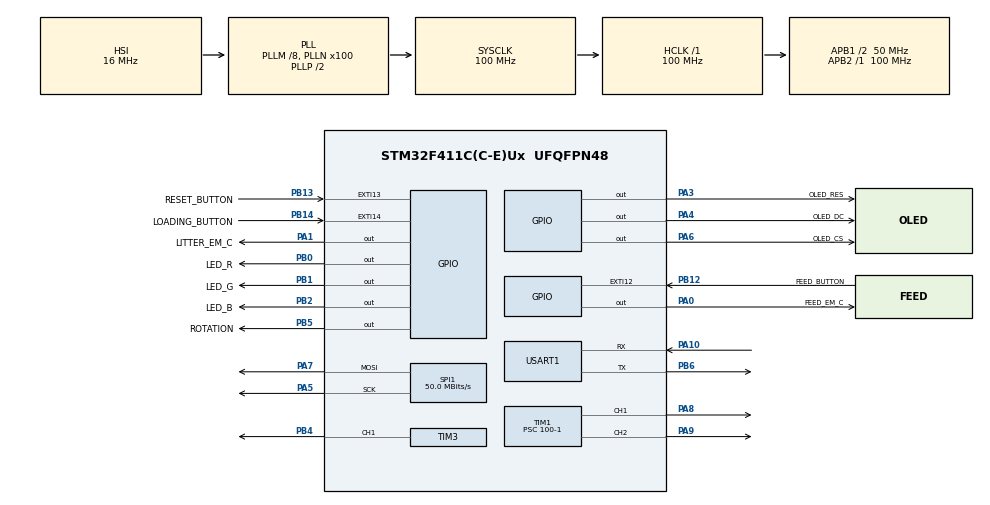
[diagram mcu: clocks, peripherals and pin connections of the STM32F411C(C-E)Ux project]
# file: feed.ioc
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Mcu.Family=STM32F4
Mcu.Name=STM32F411C(C-E)Ux
Mcu.Package=UFQFPN48
NVIC.EXTI15_10_IRQn=true\:1\:0\:true\:false\:true\:true\:true\:true
NVIC.PriorityGroup=NVIC_PRIORITYGROUP_4
NVIC.TIM2_IRQn=true\:0\:0\:false\:false\:true\:true\:true\:true
NVIC.TIM3_IRQn=true\:0\:0\:false\:false\:true\:true\:true\:true
NVIC.USART1_IRQn=true\:2\:0\:true\:false\:true\:true\:true\:true
PA0-WKUP.GPIO_Label=FEED_EM_C
PA0-WKUP.Signal=GPIO_Output
PA1.GPIO_Label=LITTER_EM_C
PA1.PinState=GPIO_PIN_RESET
PA1.Signal=GPIO_Output
PA10.Mode=Asynchronous
PA10.Signal=USART1_RX
PA13.Mode=Serial_Wire
PA13.Signal=SYS_JTMS-SWDIO
PA14.Mode=Serial_Wire
PA14.Signal=SYS_JTCK-SWCLK
PA3.GPIO_Label=OLED_RES
PA3.GPIO_Speed=GPIO_SPEED_FREQ_HIGH
PA3.PinState=GPIO_PIN_SET
PA3.Signal=GPIO_Output
PA4.GPIO_Label=OLED_DC
PA4.GPIO_Speed=GPIO_SPEED_FREQ_HIGH
PA4.Signal=GPIO_Output
PA5.Mode=TX_Only_Simplex_Unidirect_Master
PA5.Signal=SPI1_SCK
PA6.GPIO_Label=OLED_CS
PA6.GPIO_Speed=GPIO_SPEED_FREQ_HIGH
PA6.PinState=GPIO_PIN_SET
PA6.Signal=GPIO_Output
PA7.Mode=TX_Only_Simplex_Unidirect_Master
PA7.Signal=SPI1_MOSI
PA8.Signal=S_TIM1_CH1
PA9.Signal=S_TIM1_CH2
PB0.GPIO_Label=LED_R
PB0.Signal=GPIO_Output
PB1.GPIO_Label=LED_G
PB1.Signal=GPIO_Output
PB12.GPIO_Label=FEED_BUTTON
PB12.GPIO_ModeDefaultEXTI=GPIO_MODE_IT_RISING
PB12.Signal=GPXTI12
PB13.GPIO_Label=RESET_BUTTON
PB13.GPIO_ModeDefaultEXTI=GPIO_MODE_IT_RISING
PB13.Signal=GPXTI13
PB14.GPIO_Label=LOADING_BUTTON
PB14.Signal=GPXTI14
PB2.GPIO_Label=LED_B
PB2.Signal=GPIO_Output
PB4.Signal=S_TIM3_CH1
PB5.GPIO_Label=ROTATION
PB5.Signal=GPIO_Output
PB6.Mode=Asynchronous
PB6.Signal=USART1_TX
ProjectManager.HeapSize=0x200
ProjectManager.StackSize=0x400
ProjectManager.TargetToolchain=Makefile
RCC.48MHZClocksFreq_Value=50000000
RCC.AHBFreq_Value=100000000
RCC.APB1CLKDivider=RCC_HCLK_DIV2
RCC.APB1Freq_Value=50000000
RCC.APB1TimFreq_Value=100000000
RCC.APB2Freq_Value=100000000
RCC.APB2TimFreq_Value=100000000
RCC.CortexFreq_Value=100000000
RCC.HCLKFreq_Value=100000000
RCC.HSE_VALUE=25000000
RCC.HSI_VALUE=16000000
RCC.LSE_VALUE=32768
RCC.PLLM=8
RCC.PLLN=100
RCC.SYSCLKFreq_VALUE=100000000
RCC.SYSCLKSource=RCC_SYSCLKSOURCE_PLLCLK
RCC.VCOOutputFreq_Value=200000000
SH.S_TIM1_CH1.0=TIM1_CH1,PWM Generation1 CH1
SH.S_TIM1_CH2.0=TIM1_CH2,PWM Generation2 CH2
SH.S_TIM3_CH1.0=TIM3_CH1,PWM Generation1 CH1
SPI1.CalculateBaudRate=50.0 MBits/s
SPI1.Direction=SPI_DIRECTION_2LINES
SPI1.Mode=SPI_MODE_MASTER
SPI1.VirtualType=VM_MASTER
TIM1.AutoReloadPreload=TIM_AUTORELOAD_PRELOAD_ENABLE
TIM1.Channel-PWM\ Generation1\ CH1=TIM_CHANNEL_1
TIM1.Channel-PWM\ Generation2\ CH2=TIM_CHANNEL_2
TIM1.Period=1000-1
TIM1.Prescaler=100-1
TIM1.Pulse-PWM\ Generation1\ CH1=500
TIM1.Pulse-PWM\ Generation2\ CH2=500
TIM2.AutoReloadPreload=TIM_AUTORELOAD_PRELOAD_ENABLE
TIM2.Period=1000-1
TIM2.Prescaler=1000-1
TIM3.AutoReloadPreload=TIM_AUTORELOAD_PRELOAD_ENABLE
TIM3.Channel-PWM\ Generation1\ CH1=TIM_CHANNEL_1
TIM3.Period=1000-1
TIM3.Prescaler=100-1
TIM3.Pulse-PWM\ Generation1\ CH1=500
USART1.VirtualMode=VM_ASYNC
VP_TIM1_VS_ClockSourceINT.Mode=Internal
VP_TIM2_VS_ClockSourceINT.Mode=Internal
VP_TIM3_VS_ClockSourceINT.Mode=Internal
board=custom

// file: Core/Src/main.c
/* USER CODE BEGIN Header */
/**
 ******************************************************************************
 * @file           : main.c
 * @brief          : Main program body
 ******************************************************************************
 * @attention
 *
 * Copyright (c) 2023 STMicroelectronics.
 * All rights reserved.
 *
 * This software is licensed under terms that can be found in the LICENSE file
 * in the root directory of this software component.
 * If no LICENSE file comes with this software, it is provided AS-IS.
 *
 ******************************************************************************
 */
/* USER CODE END Header */
#include "main.h"
#include "spi.h"
#include "tim.h"
#include "usart.h"
#include "gpio.h"

/* USER CODE BEGIN Includes */
#include <stdio.h>        //标准库
#include <ssd1306.h>      //ssd1306 oled
#include <mylib.h>        //自定义库
#include <exitCallBack.h> //回调函数库

/* USER CODE END Includes */

void SystemClock_Config(void);

/* USER CODE BEGIN 0 */
// 调用自己的中断回调函数
void HAL_TIM_PeriodElapsedCallback(TIM_HandleTypeDef *htim)
{
  MY_HAL_TIM_PeriodElapsedCallback(htim);
}
void HAL_GPIO_EXTI_Callback(uint16_t GPIO_Pin){
    // MY_HAL_GPIO_EXTI_Callback(GPIO_Pin);
};
void HAL_TIM_PWM_PulseFinishedCallback(TIM_HandleTypeDef *htim)
{
  MY_HAL_TIM_PWM_PulseFinishedCallback(htim);
}

// USART中断回调函数
// static int count = 0;
static uint8_t recv_buf[1] = {0};
void HAL_UART_RxCpltCallback(UART_HandleTypeDef *huart)
{
  // count++;
  // if (count == 1)
  // {
  //   usart_message[0] = aRxBuffer;
  //   HAL_UART_Receive_IT(&huart1, (uint8_t *)&aRxBuffer, 1);
  //   return;
  // }
  // else{
  //   usart_message[1] = aRxBuffer;
  //   count = 0;
  //   HAL_UART_Receive_IT(&huart1, (uint8_t *)&aRxBuffer, 1);
  //   show_buffer(usart_message);
  // }
  if (huart->Instance == USART1)
  {
    // 将接收到的数据发送
    //  HAL_UART_Transmit_IT(huart, (uint8_t*)recv_buf, 13);

    if (recv_buf[0] == 0x30) //接受0x30
    {
      off_all_led(); //关闭所有LED
    }
    else if (recv_buf[0] == 0x31) //接受0x31
    {
      start_clean(); //启动清理机构
      HAL_GPIO_WritePin(LED_R_GPIO_Port, LED_R_Pin, GPIO_PIN_SET);
    }
    else if (recv_buf[0] == 0x32) //接受0x32
    {
      HAL_GPIO_WritePin(LED_G_GPIO_Port, LED_G_Pin, GPIO_PIN_SET);
      start_feed();
    }
    else if (recv_buf[0] == 0x33) //接受0x33
    {
      HAL_GPIO_WritePin(LED_B_GPIO_Port, LED_B_Pin, GPIO_PIN_SET);
      start_add_feed();
    }
    else
    {
      // HAL_GPIO_WritePin(LED_B_GPIO_Port, LED_B_Pin, GPIO_PIN_SET);
      show_ready_screen();
    }

  }
  // 重新使能串口接收中断
  HAL_UART_Receive_IT(huart, (uint8_t *)recv_buf, 1);
}
/* USER CODE END 0 */

int main(void)
{

  /* MCU Configuration--------------------------------------------------------*/

  /* Reset of all peripherals, Initializes the Flash interface and the Systick. */
  HAL_Init();

  /* Configure the system clock */
  SystemClock_Config();

  /* Initialize all configured peripherals */
  MX_GPIO_Init();
  MX_SPI1_Init();
  MX_TIM1_Init();
  MX_USART1_UART_Init();
  MX_TIM2_Init();
  MX_TIM3_Init();
  /* USER CODE BEGIN 2 */
  // 连接电源指示
  HAL_GPIO_WritePin(LED_R_GPIO_Port, LED_R_Pin, GPIO_PIN_SET);
  // 初始化OLED
  // 必须设置为Full-Duplex Master 或 Transmit Only Master
  ssd1306_Init();

  // 初始化PWM
  HAL_TIM_Base_Start(&htim1);
  HAL_TIM_PWM_Start(&htim1, TIM_CHANNEL_1); // 猫砂
  HAL_TIM_PWM_Start(&htim1, TIM_CHANNEL_2); // 存粮

  HAL_TIM_Base_Start(&htim3);
  HAL_TIM_Base_Start_IT(&htim3);
  // HAL_TIM_PWM_Start(&htim3, TIM_CHANNEL_1); //FEED

  // 初始化定时器
  // HAL_TIM_Base_Start(&htim2);
  HAL_TIM_Base_Start_IT(&htim2);

  // 串口监听开始
  HAL_UART_Receive_IT(&huart1, (uint8_t *)&aRxBuffer, 1);

  // 完成初始化指示
  show_start_screen();
  HAL_GPIO_WritePin(LED_R_GPIO_Port, LED_R_Pin, GPIO_PIN_RESET);
  HAL_GPIO_WritePin(LED_G_GPIO_Port, LED_G_Pin, GPIO_PIN_SET);

  HAL_TIM_Base_Stop_IT(&htim2); // 关闭定时器
  /* USER CODE END 2 */

  /* Infinite loop */
  while (1)
  {

  }
}

void SystemClock_Config(void)
{
  RCC_OscInitTypeDef RCC_OscInitStruct = {0};
  RCC_ClkInitTypeDef RCC_ClkInitStruct = {0};

  /** Configure the main internal regulator output voltage
   */
  __HAL_RCC_PWR_CLK_ENABLE();
  __HAL_PWR_VOLTAGESCALING_CONFIG(PWR_REGULATOR_VOLTAGE_SCALE1);

  /** Initializes the RCC Oscillators according to the specified parameters
   * in the RCC_OscInitTypeDef structure.
   */
  RCC_OscInitStruct.OscillatorType = RCC_OSCILLATORTYPE_HSI;
  RCC_OscInitStruct.HSIState = RCC_HSI_ON;
  RCC_OscInitStruct.HSICalibrationValue = RCC_HSICALIBRATION_DEFAULT;
  RCC_OscInitStruct.PLL.PLLState = RCC_PLL_ON;
  RCC_OscInitStruct.PLL.PLLSource = RCC_PLLSOURCE_HSI;
  RCC_OscInitStruct.PLL.PLLM = 8;
  RCC_OscInitStruct.PLL.PLLN = 100;
  RCC_OscInitStruct.PLL.PLLP = RCC_PLLP_DIV2;
  RCC_OscInitStruct.PLL.PLLQ = 4;
  if (HAL_RCC_OscConfig(&RCC_OscInitStruct) != HAL_OK)
  {
    Error_Handler();
  }

  /** Initializes the CPU, AHB and APB buses clocks
   */
  RCC_ClkInitStruct.ClockType = RCC_CLOCKTYPE_HCLK | RCC_CLOCKTYPE_SYSCLK | RCC_CLOCKTYPE_PCLK1 | RCC_CLOCKTYPE_PCLK2;
  RCC_ClkInitStruct.SYSCLKSource = RCC_SYSCLKSOURCE_PLLCLK;
  RCC_ClkInitStruct.AHBCLKDivider = RCC_SYSCLK_DIV1;
  RCC_ClkInitStruct.APB1CLKDivider = RCC_HCLK_DIV2;
  RCC_ClkInitStruct.APB2CLKDivider = RCC_HCLK_DIV1;

  if (HAL_RCC_ClockConfig(&RCC_ClkInitStruct, FLASH_LATENCY_3) != HAL_OK)
  {
    Error_Handler();
  }
}

void Error_Handler(void)
{
  __disable_irq();
  while (1)
  {
  }
}
